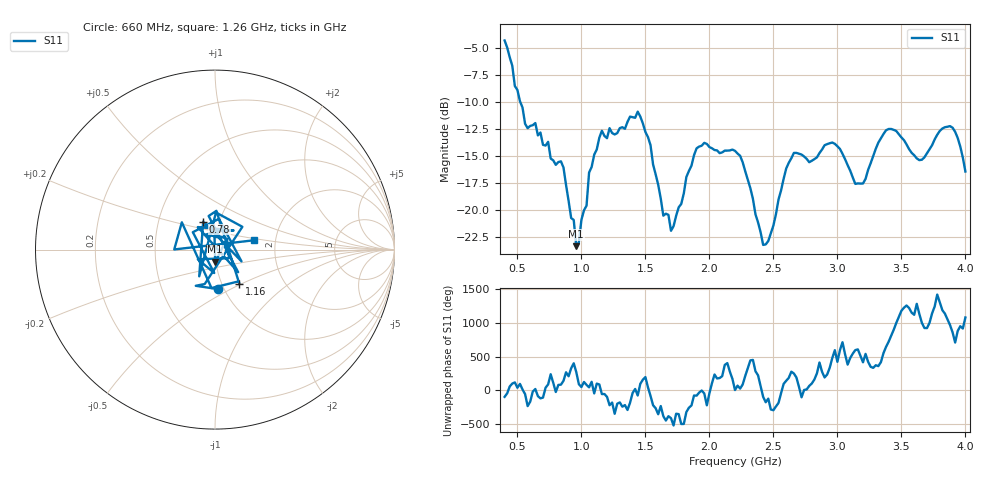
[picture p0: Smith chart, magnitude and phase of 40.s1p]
!Created with skrf (http://scikit-rf.org).
# Hz S RI R 50.0
!freq ReS11 ImS11
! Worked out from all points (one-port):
!   181 points, 400 MHz to 4 GHz, reference 50 ohm
!   lowest |S11| = -23.4 dB at 960 MHz (marker M1), VSWR 1.15, Z = 49.7 - j6.76 ohm
!   |S11| at or under -10 dB: 522.7 MHz to end of sweep
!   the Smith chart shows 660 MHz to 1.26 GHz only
!   S11 on the Smith chart (normalised r, x): 660 MHz: 0.94, -0.44; 780 MHz: 0.84, +0.27; 1.16 GHz: 1.21, -0.48; 1.26 GHz: 1.54, +0.17
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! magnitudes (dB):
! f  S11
! 400 MHz  -4.3
! 560 MHz  -12.0
! 660 MHz  -13.1
! 780 MHz  -15.4
! 860 MHz  -16.1
! 960 MHz  -23.4
! 1.04 GHz  -19.6
! 1.06 GHz  -16.5
! 1.16 GHz  -12.7
! 1.26 GHz  -13.0
! 1.3 GHz  -12.4
! 1.44 GHz  -10.9
! 1.54 GHz  -14.0
! 1.64 GHz  -20.5
! 1.7 GHz  -22.0
! 1.76 GHz  -19.8
! 1.9 GHz  -14.3
! 2.2 GHz  -14.5
! 2.42 GHz  -23.3
! 2.66 GHz  -14.7
! 2.96 GHz  -13.8
! 3.1 GHz  -16.4
! 3.2 GHz  -17.6
! 3.4 GHz  -12.5
! 3.56 GHz  -14.4
! 3.66 GHz  -15.4
! 3.88 GHz  -12.2
! 4 GHz  -16.4
